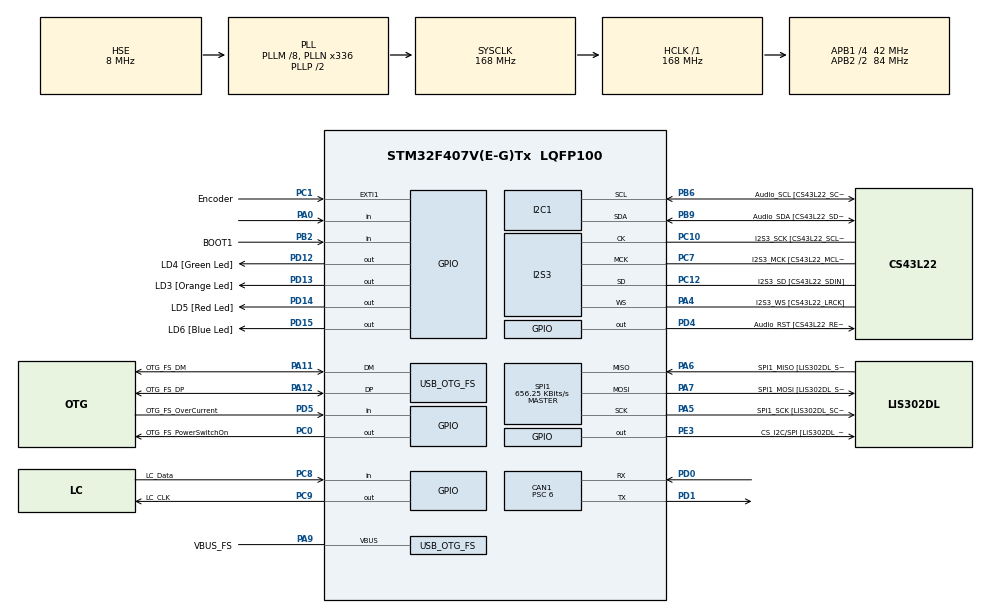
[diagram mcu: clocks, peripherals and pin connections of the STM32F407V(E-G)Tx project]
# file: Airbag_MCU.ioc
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CAN1.BS1=CAN_BS1_11TQ
CAN1.BS2=CAN_BS2_2TQ
CAN1.CalculateBaudRate=500000
CAN1.CalculateTimeBit=2000
CAN1.CalculateTimeQuantum=142.85714285714286
CAN1.Mode=CAN_MODE_NORMAL
CAN1.Prescaler=6
I2S3.AudioFreq-Half_Duplex_Master=I2S_AUDIOFREQ_96K
I2S3.ErrorAudioFreq=-2.34 %
I2S3.ErrorAudioFreq-Half_Duplex_Master=0.8 %
I2S3.FullDuplexMode=I2S_FULLDUPLEXMODE_DISABLE
I2S3.Instance=SPI$Index
I2S3.RealAudioFreq=93.75 KHz
I2S3.RealAudioFreq-Half_Duplex_Master=96.774 KHz
I2S3.VirtualMode=I2S_MODE_MASTER
Mcu.Family=STM32F4
Mcu.Name=STM32F407V(E-G)Tx
Mcu.Package=LQFP100
NVIC.EXTI1_IRQn=true\:0\:0\:false\:false\:true\:true\:true\:true
NVIC.OTG_FS_IRQn=true\:0\:0\:false\:false\:true\:true\:true\:true
NVIC.PriorityGroup=NVIC_PRIORITYGROUP_0
PA0-WKUP.Signal=GPIO_Input
PA10.GPIO_Label=OTG_FS_ID
PA10.GPIO_Mode=GPIO_MODE_AF_PP
PA10.GPIO_PuPd=GPIO_NOPULL
PA10.GPIO_Speed=GPIO_SPEED_FREQ_LOW
PA10.Signal=USB_OTG_FS_ID
PA11.GPIO_Label=OTG_FS_DM
PA11.GPIO_Mode=GPIO_MODE_AF_PP
PA11.GPIO_PuPd=GPIO_NOPULL
PA11.GPIO_Speed=GPIO_SPEED_FREQ_LOW
PA11.Mode=Host_Only
PA11.Signal=USB_OTG_FS_DM
PA12.GPIO_Label=OTG_FS_DP
PA12.GPIO_Mode=GPIO_MODE_AF_PP
PA12.GPIO_PuPd=GPIO_NOPULL
PA12.GPIO_Speed=GPIO_SPEED_FREQ_LOW
PA12.Mode=Host_Only
PA12.Signal=USB_OTG_FS_DP
PA13.GPIO_Label=SWDIO
PA13.Mode=Serial_Wire
PA13.Signal=SYS_JTMS-SWDIO
PA14.GPIO_Label=SWCLK
PA14.Mode=Serial_Wire
PA14.Signal=SYS_JTCK-SWCLK
PA4.GPIO_Label=I2S3_WS [CS43L22_LRCK]
PA4.GPIO_Mode=GPIO_MODE_AF_PP
PA4.GPIO_PuPd=GPIO_NOPULL
PA4.GPIO_Speed=GPIO_SPEED_FREQ_LOW
PA4.Mode=Half_Duplex_Master
PA4.Signal=I2S3_WS
PA5.GPIO_Label=SPI1_SCK [LIS302DL_SCL/SPC]
PA5.GPIO_Mode=GPIO_MODE_AF_PP
PA5.GPIO_PuPd=GPIO_NOPULL
PA5.GPIO_Speed=GPIO_SPEED_FREQ_LOW
PA5.Mode=Full_Duplex_Master
PA5.Signal=SPI1_SCK
PA6.GPIO_Label=SPI1_MISO [LIS302DL_SDO]
PA6.GPIO_Mode=GPIO_MODE_AF_PP
PA6.GPIO_PuPd=GPIO_NOPULL
PA6.GPIO_Speed=GPIO_SPEED_FREQ_LOW
PA6.Mode=Full_Duplex_Master
PA6.Signal=SPI1_MISO
PA7.GPIO_Label=SPI1_MOSI [LIS302DL_SDA/SDI/SDO]
PA7.GPIO_Mode=GPIO_MODE_AF_PP
PA7.GPIO_PuPd=GPIO_NOPULL
PA7.GPIO_Speed=GPIO_SPEED_FREQ_LOW
PA7.Mode=Full_Duplex_Master
PA7.Signal=SPI1_MOSI
PA9.GPIO_Label=VBUS_FS
PA9.GPIO_Mode=GPIO_MODE_INPUT
PA9.GPIO_PuPd=GPIO_NOPULL
PA9.Mode=Activate_VBUS
PA9.Signal=USB_OTG_FS_VBUS
PB10.GPIO_Label=CLK_IN [MP45DT02_CLK]
PB10.GPIO_Mode=GPIO_MODE_AF_PP
PB10.GPIO_PuPd=GPIO_NOPULL
PB10.GPIO_Speed=GPIO_SPEED_FREQ_LOW
PB10.Signal=I2S2_CK
PB2.GPIO_Label=BOOT1
PB2.GPIO_Mode=GPIO_MODE_INPUT
PB2.GPIO_PuPd=GPIO_NOPULL
PB2.Signal=GPIO_Input
PB3.GPIO_Label=SWO
PB3.Signal=SYS_JTDO-SWO
PB6.GPIO_Label=Audio_SCL [CS43L22_SCL]
PB6.GPIO_Mode=GPIO_MODE_AF_OD
PB6.GPIO_Pu=GPIO_PULLUP
PB6.GPIO_PuPd=GPIO_NOPULL
PB6.GPIO_Speed=GPIO_SPEED_FREQ_LOW
PB6.Mode=I2C
PB6.Signal=I2C1_SCL
PB9.GPIO_Label=Audio_SDA [CS43L22_SDA]
PB9.GPIO_Mode=GPIO_MODE_AF_OD
PB9.GPIO_Pu=GPIO_PULLUP
PB9.GPIO_PuPd=GPIO_NOPULL
PB9.GPIO_Speed=GPIO_SPEED_FREQ_LOW
PB9.Mode=I2C
PB9.Signal=I2C1_SDA
PC0.GPIO_Label=OTG_FS_PowerSwitchOn
PC0.GPIO_PuPd=GPIO_NOPULL
PC0.GPIO_Speed=GPIO_SPEED_FREQ_LOW
PC0.PinState=GPIO_PIN_SET
PC0.Signal=GPIO_Output
PC1.GPIO_Label=Encoder
PC1.GPIO_ModeDefaultEXTI=GPIO_MODE_IT_RISING
PC1.GPIO_PuPd=GPIO_PULLDOWN
PC1.Signal=GPXTI1
PC10.GPIO_Label=I2S3_SCK [CS43L22_SCLK]
PC10.GPIO_Mode=GPIO_MODE_AF_PP
PC10.GPIO_PuPd=GPIO_NOPULL
PC10.GPIO_Speed=GPIO_SPEED_FREQ_LOW
PC10.Mode=Half_Duplex_Master
PC10.Signal=I2S3_CK
PC12.GPIO_Label=I2S3_SD [CS43L22_SDIN]
PC12.GPIO_Mode=GPIO_MODE_AF_PP
PC12.GPIO_PuPd=GPIO_NOPULL
PC12.GPIO_Speed=GPIO_SPEED_FREQ_LOW
PC12.Mode=Half_Duplex_Master
PC12.Signal=I2S3_SD
PC14-OSC32_IN.GPIO_Label=PC14-OSC32_IN
PC14-OSC32_IN.Mode=LSE-External-Oscillator
PC14-OSC32_IN.Signal=RCC_OSC32_IN
PC15-OSC32_OUT.GPIO_Label=PC15-OSC32_OUT
PC15-OSC32_OUT.Mode=LSE-External-Oscillator
PC15-OSC32_OUT.Signal=RCC_OSC32_OUT
PC3.GPIO_Label=PDM_OUT [MP45DT02_DOUT]
PC3.GPIO_Mode=GPIO_MODE_AF_PP
PC3.GPIO_PuPd=GPIO_NOPULL
PC3.GPIO_Speed=GPIO_SPEED_FREQ_LOW
PC3.Signal=I2S2_SD
PC7.GPIO_Label=I2S3_MCK [CS43L22_MCLK]
PC7.GPIO_Mode=GPIO_MODE_AF_PP
PC7.GPIO_PuPd=GPIO_NOPULL
PC7.GPIO_Speed=GPIO_SPEED_FREQ_LOW
PC7.Mode=Master_Clock_Activated
PC7.Signal=I2S3_MCK
PC8.GPIO_Label=LC_Data
PC8.GPIO_PuPd=GPIO_PULLUP
PC8.Signal=GPIO_Input
PC9.GPIO_Label=LC_CLK
PC9.Signal=GPIO_Output
PD0.GPIO_PuPd=GPIO_PULLUP
PD0.Mode=CAN_Activate
PD0.Signal=CAN1_RX
PD1.Mode=CAN_Activate
PD1.Signal=CAN1_TX
PD12.GPIO_Label=LD4 [Green Led]
PD12.GPIO_PuPd=GPIO_NOPULL
PD12.GPIO_Speed=GPIO_SPEED_FREQ_LOW
PD12.Signal=GPIO_Output
PD13.GPIO_Label=LD3 [Orange Led]
PD13.GPIO_PuPd=GPIO_NOPULL
PD13.GPIO_Speed=GPIO_SPEED_FREQ_LOW
PD13.Signal=GPIO_Output
PD14.GPIO_Label=LD5 [Red Led]
PD14.GPIO_PuPd=GPIO_NOPULL
PD14.GPIO_Speed=GPIO_SPEED_FREQ_LOW
PD14.Signal=GPIO_Output
PD15.GPIO_Label=LD6 [Blue Led]
PD15.GPIO_PuPd=GPIO_NOPULL
PD15.GPIO_Speed=GPIO_SPEED_FREQ_LOW
PD15.Signal=GPIO_Output
PD4.GPIO_Label=Audio_RST [CS43L22_RESET]
PD4.GPIO_PuPd=GPIO_NOPULL
PD4.GPIO_Speed=GPIO_SPEED_FREQ_LOW
PD4.Signal=GPIO_Output
PD5.GPIO_Label=OTG_FS_OverCurrent
PD5.GPIO_Mode=GPIO_MODE_INPUT
PD5.GPIO_PuPd=GPIO_NOPULL
PD5.Signal=GPIO_Input
PE3.GPIO_Label=CS_I2C/SPI [LIS302DL_CS_I2C/SPI]
PE3.GPIO_PuPd=GPIO_NOPULL
PE3.GPIO_Speed=GPIO_SPEED_FREQ_LOW
PE3.Signal=GPIO_Output
PH0-OSC_IN.GPIO_Label=PH0-OSC_IN
PH0-OSC_IN.Mode=HSE-External-Oscillator
PH0-OSC_IN.Signal=RCC_OSC_IN
PH1-OSC_OUT.GPIO_Label=PH1-OSC_OUT
PH1-OSC_OUT.Mode=HSE-External-Oscillator
PH1-OSC_OUT.Signal=RCC_OSC_OUT
ProjectManager.HeapSize=0x200
ProjectManager.StackSize=0x400
ProjectManager.TargetToolchain=STM32CubeIDE
RCC.48MHZClocksFreq_Value=48000000
RCC.AHBFreq_Value=168000000
RCC.APB1CLKDivider=RCC_HCLK_DIV4
RCC.APB1Freq_Value=42000000
RCC.APB1TimFreq_Value=84000000
RCC.APB2CLKDivider=RCC_HCLK_DIV2
RCC.APB2Freq_Value=84000000
RCC.APB2TimFreq_Value=168000000
RCC.CortexFreq_Value=168000000
RCC.HCLKFreq_Value=168000000
RCC.HSE_VALUE=8000000
RCC.HSI_VALUE=16000000
RCC.PLLM=8
RCC.PLLN=336
RCC.PLLQ=7
RCC.SYSCLKFreq_VALUE=168000000
RCC.SYSCLKSource=RCC_SYSCLKSOURCE_PLLCLK
RCC.VCOOutputFreq_Value=336000000
SPI1.BaudRatePrescaler=SPI_BAUDRATEPRESCALER_128
SPI1.BaudRatePrescaler-Full_Duplex_Master=SPI_BAUDRATEPRESCALER_2
SPI1.CalculateBaudRate=656.25 KBits/s
SPI1.CalculateBaudRate-Full_Duplex_Master=42.0 MBits/s
SPI1.Direction=SPI_DIRECTION_2LINES
SPI1.Mode=SPI_MODE_MASTER
SPI1.Mode-Full_Duplex_Master=SPI_MODE_MASTER
SPI1.VirtualType=VM_MASTER
TIM2.Prescaler=83
USB_HOST.BSP.number=1
USB_HOST.USBH_HandleTypeDef-CDC_FS=hUsbHostFS
USB_HOST.VirtualModeFS=Cdc
USB_HOST0.BSP.STBoard=false
USB_HOST0.BSP.api=Unknown
USB_HOST0.BSP.instance=PC0
USB_HOST0.BSP.ip=GPIO
USB_HOST0.BSP.mode=Output
USB_HOST0.BSP.name=Drive_VBUS_FS
USB_HOST0.BSP.solution=PC0
USB_OTG_FS.VirtualMode=Host_Only
USB_OTG_FS.phy_itface=HCD_PHY_EMBEDDED
VP_TIM2_VS_ClockSourceINT.Mode=Internal
VP_USB_HOST_VS_USB_HOST_CDC_FS.Mode=CDC_FS
board=STM32F407G-DISC1

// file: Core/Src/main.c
/* USER CODE BEGIN Header */
/**
 ******************************************************************************
 * @file           : main.c
 * @brief          : Main program body
 ******************************************************************************
 * @attention
 *
 * Copyright (c) 2024 STMicroelectronics.
 * All rights reserved.
 *
 * This software is licensed under terms that can be found in the LICENSE file
 * in the root directory of this software component.
 * If no LICENSE file comes with this software, it is provided AS-IS.
 *
 ******************************************************************************
 */
/* USER CODE END Header */
#include "main.h"
#include "usb_host.h"

/* USER CODE BEGIN Includes */
#include <HX711.h>
/* USER CODE END Includes */

/* USER CODE BEGIN PD */
#define LIS302DL_WHO_AM_I_ADDR               (uint8_t)0x0F
#define LIS302DL_CTRL_REG1_ADDR              (uint8_t)0x20
#define LIS302DL_CTRL_REG2_ADDR              (uint8_t)0x21
#define LIS302DL_CTRL_REG3_ADDR              (uint8_t)0x22
#define LIS302DL_STATUS_REG_ADDR             (uint8_t)0x27
#define LIS302DL_OUT_X_ADDR                  (uint8_t)0x29
#define LIS302DL_OUT_Y_ADDR                  (uint8_t)0x2B
#define LIS302DL_OUT_Z_ADDR                  (uint8_t)0x2D
#define LIS302DL_FF_WU_CFG1_REG_ADDR         (uint8_t)0x30
#define LIS302DL_FF_WU_SRC1_REG_ADDR         (uint8_t)0x31
#define LIS302DL_FF_WU_THS1_REG_ADDR         (uint8_t)0x32
#define LIS302DL_FF_WU_DURATION1_REG_ADDR    (uint8_t)0x33
/* USER CODE END PD */

CAN_HandleTypeDef hcan1;

I2C_HandleTypeDef hi2c1;

I2S_HandleTypeDef hi2s3;

SPI_HandleTypeDef hspi1;

TIM_HandleTypeDef htim2;

void SystemClock_Config(void);
static void MX_GPIO_Init(void);
static void MX_I2C1_Init(void);
static void MX_I2S3_Init(void);
static void MX_SPI1_Init(void);
static void MX_CAN1_Init(void);
static void MX_TIM2_Init(void);
void MX_USB_HOST_Process(void);

/* USER CODE BEGIN 0 */
CAN_TxHeaderTypeDef TxHeader;
CAN_RxHeaderTypeDef RxHeader;

uint8_t txData[8];
uint8_t rxData[8];

uint32_t txMailBox;

uint8_t blink = 0;

uint32_t periodAcc = 10; //ms
uint32_t lastAcc = 0; //ms
int8_t threshold = 40;
uint8_t crash = 0;
int8_t x, y, z;

hx711_t mass;
long weightA = 0;
uint8_t seatOccupancy = 0;

uint32_t periodVel = 500; //ms
uint32_t lastVel = 0; //ms
uint32_t encoderCount = 0;
uint16_t rpm = 0;
uint16_t lastRpm = 0;
float diameter = 58; //mm
float vel = 0;

void HAL_GPIO_EXTI_Callback(uint16_t GPIO_Pin) {
	if (GPIO_Pin == Encoder_Pin) {
		encoderCount++;
	}
}

void LIS302DL_Read(uint8_t *rx_buffer, uint8_t addr) {
	HAL_GPIO_WritePin(GPIOE, GPIO_PIN_3, GPIO_PIN_RESET); //reset CS...

	addr |= 0x80;

	HAL_SPI_Transmit(&hspi1, &addr, 1, 50);

	HAL_SPI_Receive(&hspi1, rx_buffer, 1, 50);

	HAL_GPIO_WritePin(GPIOE, GPIO_PIN_3, GPIO_PIN_SET); //reset CS...
}

void LIS302DL_Write(uint8_t tx_buffer, uint8_t addr) {
	HAL_GPIO_WritePin(GPIOE, GPIO_PIN_3, GPIO_PIN_RESET); //reset CS...

	HAL_SPI_Transmit(&hspi1, &addr, 1, 50);

	HAL_SPI_Transmit(&hspi1, &tx_buffer, 1, 50);

	HAL_GPIO_WritePin(GPIOE, GPIO_PIN_3, GPIO_PIN_SET); //reset CS...
}

void getAccData() {
	LIS302DL_Read(&x, LIS302DL_OUT_X_ADDR);

	LIS302DL_Read(&y, LIS302DL_OUT_Y_ADDR);

	LIS302DL_Read(&z, LIS302DL_OUT_Z_ADDR);

	if (y >= threshold) {
		crash = 1;
	}
}

void getVelocity() {
	rpm = (encoderCount / 20) * 120;
	weightA = get_weight(&mass, 1, CHANNEL_A);
	if(weightA > 1000){
		seatOccupancy = 1;
	}
	else {
		seatOccupancy = 0;
	}
	vel = rpm / 60 * diameter * 2 * 3.1416 / 1000; //m/s
	encoderCount = 0;
	lastRpm = rpm;
}

void sendData() {
	txData[0] = crash;
	txData[1] = seatOccupancy;
	txData[2] = x;
	txData[3] = y;
	txData[4] = z;
	txData[5] = rpm >> 8;
	txData[6] = rpm;
	txData[7] = 0;

	HAL_CAN_AddTxMessage(&hcan1, &TxHeader, txData, &txMailBox);
}

void init_weight(hx711_t *hx711) {

	/* Initialize the hx711 sensors */
	hx711_init(hx711, GPIOC, GPIO_PIN_9, GPIOC, GPIO_PIN_8);

	/* Configure gain for each channel (see datasheet for details) */
	set_gain(hx711, 128, 32);

	/* Set HX711 scaling factor (see README for procedure) */
	set_scale(hx711, -44.25, -10.98);

	/* Tare weight */
	tare_all(hx711, 10);
}

float measure_weight(hx711_t hx711) {
	long weightA = 0;

	// Measure the weight for channel A
	weightA = get_weight(&hx711, 10, CHANNEL_A);
	// Weight cannot be negative
	weightA = (weightA < 0) ? 0 : weightA;

	return weightA;
}
/* USER CODE END 0 */

int main(void) {

	/* MCU Configuration--------------------------------------------------------*/

	/* Reset of all peripherals, Initializes the Flash interface and the Systick. */
	HAL_Init();

	/* Configure the system clock */
	SystemClock_Config();

	/* Initialize all configured peripherals */
	MX_GPIO_Init();
	MX_I2C1_Init();
	MX_I2S3_Init();
	MX_SPI1_Init();
	MX_USB_HOST_Init();
	MX_CAN1_Init();
	MX_TIM2_Init();
	/* USER CODE BEGIN 2 */
	HAL_CAN_Start(&hcan1);

	HAL_CAN_ActivateNotification(&hcan1, CAN_IT_RX_FIFO0_MSG_PENDING);

	TxHeader.DLC = 8; //data length
	TxHeader.IDE = CAN_ID_STD;
	TxHeader.RTR = CAN_RTR_DATA;
	TxHeader.StdId = 0x407; // IDl
	TxHeader.TransmitGlobalTime = DISABLE;

	LIS302DL_Write((uint8_t) 0x67, LIS302DL_CTRL_REG1_ADDR);//setting scale 8g
	init_weight(&mass);//setting
	/* USER CODE END 2 */

	/* Infinite loop */
	while (1) {
		MX_USB_HOST_Process();

		/* USER CODE BEGIN 3 */
		if (HAL_GetTick() - lastAcc >= periodAcc) {
			lastAcc = HAL_GetTick();
			getAccData();
			sendData();
		}

		if (HAL_GetTick() - lastVel >= periodVel) {
			lastVel = HAL_GetTick();
			getVelocity();
		}
	}
	/* USER CODE END 3 */
}

void SystemClock_Config(void) {
	RCC_OscInitTypeDef RCC_OscInitStruct = { 0 };
	RCC_ClkInitTypeDef RCC_ClkInitStruct = { 0 };

	/** Configure the main internal regulator output voltage
	 */
	__HAL_RCC_PWR_CLK_ENABLE();
	__HAL_PWR_VOLTAGESCALING_CONFIG(PWR_REGULATOR_VOLTAGE_SCALE1);

	/** Initializes the RCC Oscillators according to the specified parameters
	 * in the RCC_OscInitTypeDef structure.
	 */
	RCC_OscInitStruct.OscillatorType = RCC_OSCILLATORTYPE_HSE;
	RCC_OscInitStruct.HSEState = RCC_HSE_ON;
	RCC_OscInitStruct.PLL.PLLState = RCC_PLL_ON;
	RCC_OscInitStruct.PLL.PLLSource = RCC_PLLSOURCE_HSE;
	RCC_OscInitStruct.PLL.PLLM = 8;
	RCC_OscInitStruct.PLL.PLLN = 336;
	RCC_OscInitStruct.PLL.PLLP = RCC_PLLP_DIV2;
	RCC_OscInitStruct.PLL.PLLQ = 7;
	if (HAL_RCC_OscConfig(&RCC_OscInitStruct) != HAL_OK) {
		Error_Handler();
	}

	/** Initializes the CPU, AHB and APB buses clocks
	 */
	RCC_ClkInitStruct.ClockType = RCC_CLOCKTYPE_HCLK | RCC_CLOCKTYPE_SYSCLK
			| RCC_CLOCKTYPE_PCLK1 | RCC_CLOCKTYPE_PCLK2;
	RCC_ClkInitStruct.SYSCLKSource = RCC_SYSCLKSOURCE_PLLCLK;
	RCC_ClkInitStruct.AHBCLKDivider = RCC_SYSCLK_DIV1;
	RCC_ClkInitStruct.APB1CLKDivider = RCC_HCLK_DIV4;
	RCC_ClkInitStruct.APB2CLKDivider = RCC_HCLK_DIV2;

	if (HAL_RCC_ClockConfig(&RCC_ClkInitStruct, FLASH_LATENCY_5) != HAL_OK) {
		Error_Handler();
	}
}

static void MX_CAN1_Init(void) {

	hcan1.Instance = CAN1;
	hcan1.Init.Prescaler = 6;
	hcan1.Init.Mode = CAN_MODE_NORMAL;
	hcan1.Init.SyncJumpWidth = CAN_SJW_1TQ;
	hcan1.Init.TimeSeg1 = CAN_BS1_11TQ;
	hcan1.Init.TimeSeg2 = CAN_BS2_2TQ;
	hcan1.Init.TimeTriggeredMode = DISABLE;
	hcan1.Init.AutoBusOff = DISABLE;
	hcan1.Init.AutoWakeUp = DISABLE;
	hcan1.Init.AutoRetransmission = DISABLE;
	hcan1.Init.ReceiveFifoLocked = DISABLE;
	hcan1.Init.TransmitFifoPriority = DISABLE;
	if (HAL_CAN_Init(&hcan1) != HAL_OK) {
		Error_Handler();
	}
	/* USER CODE BEGIN CAN1_Init 2 */
	CAN_FilterTypeDef filterConfig;

	filterConfig.FilterActivation = CAN_FILTER_ENABLE;
	filterConfig.FilterBank = 10;
	filterConfig.FilterFIFOAssignment = CAN_FILTER_FIFO0;
	filterConfig.FilterIdHigh = 0;
	filterConfig.FilterIdLow = 0;
	filterConfig.FilterMaskIdHigh = 0x0000;
	filterConfig.FilterMaskIdLow = 0x0000;
	filterConfig.FilterMode = CAN_FILTERMODE_IDMASK;
	filterConfig.FilterScale = CAN_FILTERSCALE_32BIT;
	filterConfig.SlaveStartFilterBank = 0; // how many filter to assign to the CAN master

	HAL_CAN_ConfigFilter(&hcan1, &filterConfig);
	/* USER CODE END CAN1_Init 2 */

}

static void MX_I2C1_Init(void) {

	hi2c1.Instance = I2C1;
	hi2c1.Init.ClockSpeed = 100000;
	hi2c1.Init.DutyCycle = I2C_DUTYCYCLE_2;
	hi2c1.Init.OwnAddress1 = 0;
	hi2c1.Init.AddressingMode = I2C_ADDRESSINGMODE_7BIT;
	hi2c1.Init.DualAddressMode = I2C_DUALADDRESS_DISABLE;
	hi2c1.Init.OwnAddress2 = 0;
	hi2c1.Init.GeneralCallMode = I2C_GENERALCALL_DISABLE;
	hi2c1.Init.NoStretchMode = I2C_NOSTRETCH_DISABLE;
	if (HAL_I2C_Init(&hi2c1) != HAL_OK) {
		Error_Handler();
	}

}

static void MX_I2S3_Init(void) {

	hi2s3.Instance = SPI3;
	hi2s3.Init.Mode = I2S_MODE_MASTER_TX;
	hi2s3.Init.Standard = I2S_STANDARD_PHILIPS;
	hi2s3.Init.DataFormat = I2S_DATAFORMAT_16B;
	hi2s3.Init.MCLKOutput = I2S_MCLKOUTPUT_ENABLE;
	hi2s3.Init.AudioFreq = I2S_AUDIOFREQ_96K;
	hi2s3.Init.CPOL = I2S_CPOL_LOW;
	hi2s3.Init.ClockSource = I2S_CLOCK_PLL;
	hi2s3.Init.FullDuplexMode = I2S_FULLDUPLEXMODE_DISABLE;
	if (HAL_I2S_Init(&hi2s3) != HAL_OK) {
		Error_Handler();
	}

}

static void MX_SPI1_Init(void) {

	/* SPI1 parameter configuration*/
	hspi1.Instance = SPI1;
	hspi1.Init.Mode = SPI_MODE_MASTER;
	hspi1.Init.Direction = SPI_DIRECTION_2LINES;
	hspi1.Init.DataSize = SPI_DATASIZE_8BIT;
	hspi1.Init.CLKPolarity = SPI_POLARITY_LOW;
	hspi1.Init.CLKPhase = SPI_PHASE_1EDGE;
	hspi1.Init.NSS = SPI_NSS_SOFT;
	hspi1.Init.BaudRatePrescaler = SPI_BAUDRATEPRESCALER_128;
	hspi1.Init.FirstBit = SPI_FIRSTBIT_MSB;
	hspi1.Init.TIMode = SPI_TIMODE_DISABLE;
	hspi1.Init.CRCCalculation = SPI_CRCCALCULATION_DISABLE;
	hspi1.Init.CRCPolynomial = 10;
	if (HAL_SPI_Init(&hspi1) != HAL_OK) {
		Error_Handler();
	}

}

static void MX_TIM2_Init(void) {

	TIM_ClockConfigTypeDef sClockSourceConfig = { 0 };
	TIM_MasterConfigTypeDef sMasterConfig = { 0 };

	htim2.Instance = TIM2;
	htim2.Init.Prescaler = 83;
	htim2.Init.CounterMode = TIM_COUNTERMODE_UP;
	htim2.Init.Period = 4294967295;
	htim2.Init.ClockDivision = TIM_CLOCKDIVISION_DIV1;
	htim2.Init.AutoReloadPreload = TIM_AUTORELOAD_PRELOAD_DISABLE;
	if (HAL_TIM_Base_Init(&htim2) != HAL_OK) {
		Error_Handler();
	}
	sClockSourceConfig.ClockSource = TIM_CLOCKSOURCE_INTERNAL;
	if (HAL_TIM_ConfigClockSource(&htim2, &sClockSourceConfig) != HAL_OK) {
		Error_Handler();
	}
	sMasterConfig.MasterOutputTrigger = TIM_TRGO_RESET;
	sMasterConfig.MasterSlaveMode = TIM_MASTERSLAVEMODE_DISABLE;
	if (HAL_TIMEx_MasterConfigSynchronization(&htim2, &sMasterConfig)
			!= HAL_OK) {
		Error_Handler();
	}

}

static void MX_GPIO_Init(void) {
	GPIO_InitTypeDef GPIO_InitStruct = { 0 };

	/* GPIO Ports Clock Enable */
	__HAL_RCC_GPIOE_CLK_ENABLE();
	__HAL_RCC_GPIOC_CLK_ENABLE();
	__HAL_RCC_GPIOH_CLK_ENABLE();
	__HAL_RCC_GPIOA_CLK_ENABLE();
	__HAL_RCC_GPIOB_CLK_ENABLE();
	__HAL_RCC_GPIOD_CLK_ENABLE();

	/*Configure GPIO pin Output Level */
	HAL_GPIO_WritePin(CS_I2C_SPI_GPIO_Port, CS_I2C_SPI_Pin, GPIO_PIN_RESET);

	/*Configure GPIO pin Output Level */
	HAL_GPIO_WritePin(OTG_FS_PowerSwitchOn_GPIO_Port, OTG_FS_PowerSwitchOn_Pin,
			GPIO_PIN_SET);

	/*Configure GPIO pin Output Level */
	HAL_GPIO_WritePin(GPIOD,
			LD4_Pin | LD3_Pin | LD5_Pin | LD6_Pin | Audio_RST_Pin,
			GPIO_PIN_RESET);

	/*Configure GPIO pin Output Level */
	HAL_GPIO_WritePin(LC_CLK_GPIO_Port, LC_CLK_Pin, GPIO_PIN_RESET);

	/*Configure GPIO pin : CS_I2C_SPI_Pin */
	GPIO_InitStruct.Pin = CS_I2C_SPI_Pin;
	GPIO_InitStruct.Mode = GPIO_MODE_OUTPUT_PP;
	GPIO_InitStruct.Pull = GPIO_NOPULL;
	GPIO_InitStruct.Speed = GPIO_SPEED_FREQ_LOW;
	HAL_GPIO_Init(CS_I2C_SPI_GPIO_Port, &GPIO_InitStruct);

	/*Configure GPIO pins : OTG_FS_PowerSwitchOn_Pin LC_CLK_Pin */
	GPIO_InitStruct.Pin = OTG_FS_PowerSwitchOn_Pin | LC_CLK_Pin;
	GPIO_InitStruct.Mode = GPIO_MODE_OUTPUT_PP;
	GPIO_InitStruct.Pull = GPIO_NOPULL;
	GPIO_InitStruct.Speed = GPIO_SPEED_FREQ_LOW;
	HAL_GPIO_Init(GPIOC, &GPIO_InitStruct);

	/*Configure GPIO pin : Encoder_Pin */
	GPIO_InitStruct.Pin = Encoder_Pin;
	GPIO_InitStruct.Mode = GPIO_MODE_IT_RISING;
	GPIO_InitStruct.Pull = GPIO_PULLDOWN;
	HAL_GPIO_Init(Encoder_GPIO_Port, &GPIO_InitStruct);

	/*Configure GPIO pin : PDM_OUT_Pin */
	GPIO_InitStruct.Pin = PDM_OUT_Pin;
	GPIO_InitStruct.Mode = GPIO_MODE_AF_PP;
	GPIO_InitStruct.Pull = GPIO_NOPULL;
	GPIO_InitStruct.Speed = GPIO_SPEED_FREQ_LOW;
	GPIO_InitStruct.Alternate = GPIO_AF5_SPI2;
	HAL_GPIO_Init(PDM_OUT_GPIO_Port, &GPIO_InitStruct);

	/*Configure GPIO pin : PA0 */
	GPIO_InitStruct.Pin = GPIO_PIN_0;
	GPIO_InitStruct.Mode = GPIO_MODE_INPUT;
	GPIO_InitStruct.Pull = GPIO_NOPULL;
	HAL_GPIO_Init(GPIOA, &GPIO_InitStruct);

	/*Configure GPIO pin : BOOT1_Pin */
	GPIO_InitStruct.Pin = BOOT1_Pin;
	GPIO_InitStruct.Mode = GPIO_MODE_INPUT;
	GPIO_InitStruct.Pull = GPIO_NOPULL;
	HAL_GPIO_Init(BOOT1_GPIO_Port, &GPIO_InitStruct);

	/*Configure GPIO pin : CLK_IN_Pin */
	GPIO_InitStruct.Pin = CLK_IN_Pin;
	GPIO_InitStruct.Mode = GPIO_MODE_AF_PP;
	GPIO_InitStruct.Pull = GPIO_NOPULL;
	GPIO_InitStruct.Speed = GPIO_SPEED_FREQ_LOW;
	GPIO_InitStruct.Alternate = GPIO_AF5_SPI2;
	HAL_GPIO_Init(CLK_IN_GPIO_Port, &GPIO_InitStruct);

	/*Configure GPIO pins : LD4_Pin LD3_Pin LD5_Pin LD6_Pin
	 Audio_RST_Pin */
	GPIO_InitStruct.Pin = LD4_Pin | LD3_Pin | LD5_Pin | LD6_Pin | Audio_RST_Pin;
	GPIO_InitStruct.Mode = GPIO_MODE_OUTPUT_PP;
	GPIO_InitStruct.Pull = GPIO_NOPULL;
	GPIO_InitStruct.Speed = GPIO_SPEED_FREQ_LOW;
	HAL_GPIO_Init(GPIOD, &GPIO_InitStruct);

	/*Configure GPIO pin : LC_Data_Pin */
	GPIO_InitStruct.Pin = LC_Data_Pin;
	GPIO_InitStruct.Mode = GPIO_MODE_INPUT;
	GPIO_InitStruct.Pull = GPIO_PULLUP;
	HAL_GPIO_Init(LC_Data_GPIO_Port, &GPIO_InitStruct);

	/*Configure GPIO pin : OTG_FS_OverCurrent_Pin */
	GPIO_InitStruct.Pin = OTG_FS_OverCurrent_Pin;
	GPIO_InitStruct.Mode = GPIO_MODE_INPUT;
	GPIO_InitStruct.Pull = GPIO_NOPULL;
	HAL_GPIO_Init(OTG_FS_OverCurrent_GPIO_Port, &GPIO_InitStruct);

	/* EXTI interrupt init*/
	HAL_NVIC_SetPriority(EXTI1_IRQn, 0, 0);
	HAL_NVIC_EnableIRQ(EXTI1_IRQn);

}

void Error_Handler(void) {
	__disable_irq();
	while (1) {
	}
}
